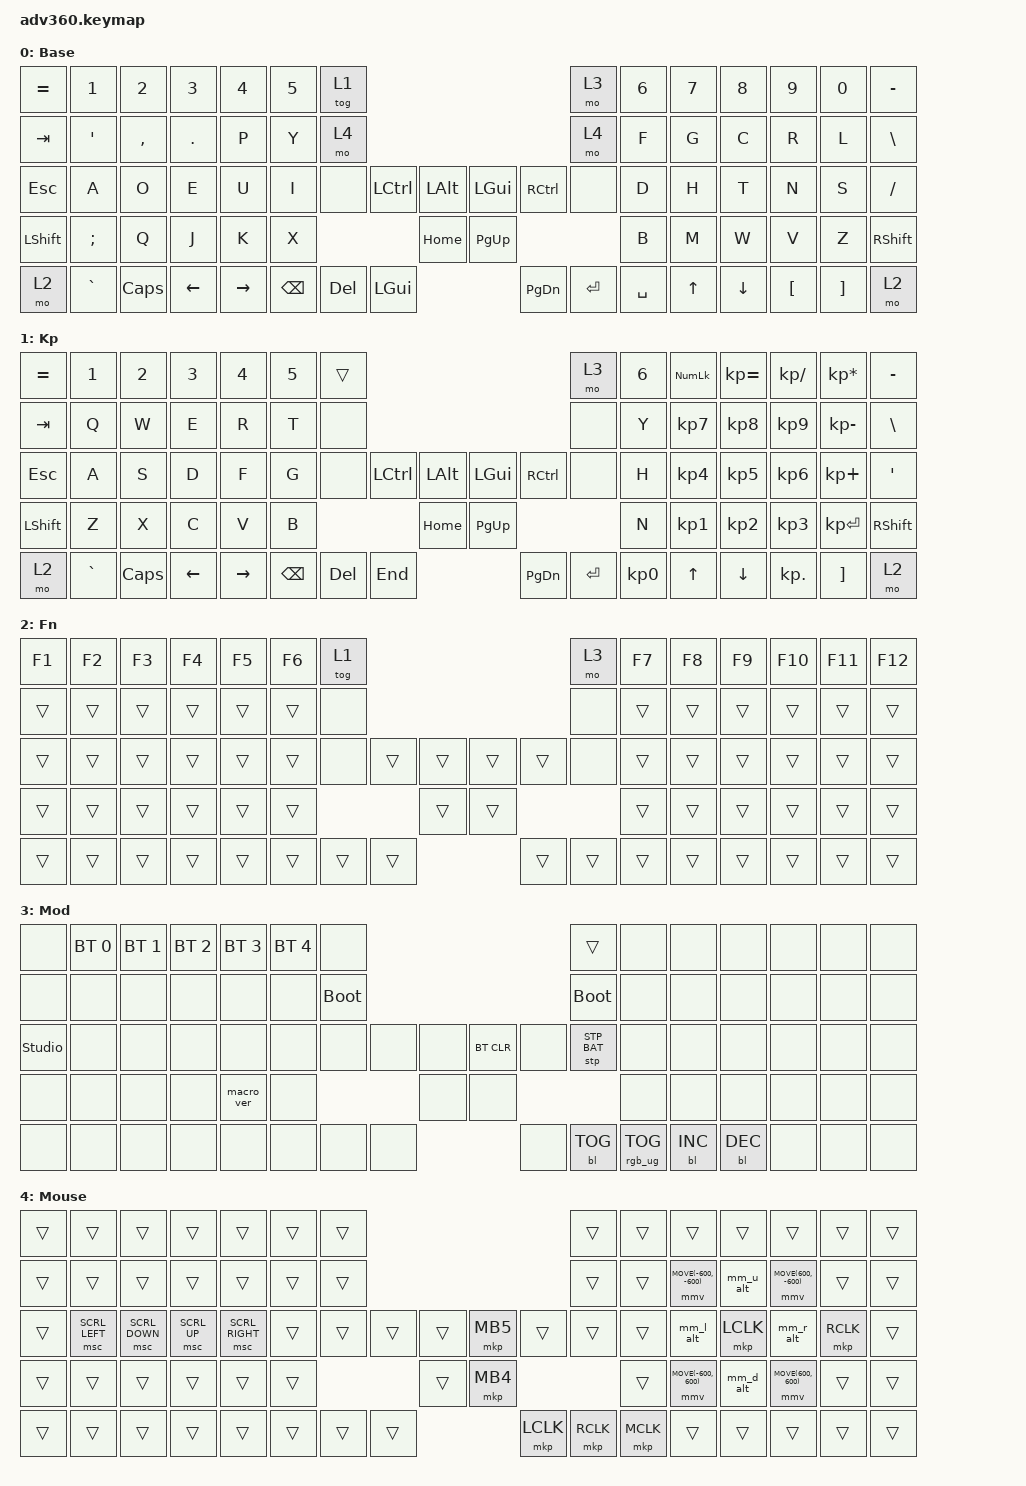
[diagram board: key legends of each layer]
#include <behaviors.dtsi>
#include <dt-bindings/zmk/keys.h>
#include <dt-bindings/zmk/bt.h>
#include <dt-bindings/zmk/rgb.h>
#include <dt-bindings/zmk/stp.h>
#include <dt-bindings/zmk/backlight.h>
#include <dt-bindings/zmk/pointing.h>
#include <dt-bindings/zmk/modifiers.h>

/ {
    behaviors {
      #include "macros.dtsi"
      #include "version.dtsi"

      hm: homerow_mods {
          compatible = "zmk,behavior-hold-tap";
          label = "HOMEROW_MODS";
          #binding-cells = <2>;
          tapping-term-ms = <200>;
          quick_tap_ms = <175>;
          flavor = "tap-preferred";
          bindings = <&kp>, <&kp>;
      };

      mm_l_ctrl: mm_l_ctrl {
          compatible = "zmk,behavior-mod-morph";
          #binding-cells = <0>;
          bindings = <&mmv MOVE_LEFT>, <&mmv MOVE_X(-1200)>;
          mods = <(MOD_LCTL)>;
      };
      mm_l_alt: mm_l_alt {
          compatible = "zmk,behavior-mod-morph";
          #binding-cells = <0>;
          bindings = <&mm_l_ctrl>, <&mmv MOVE_X(-2400)>;
          mods = <(MOD_LALT)>;
      };
      mm_r_ctrl: mm_r_ctrl {
          compatible = "zmk,behavior-mod-morph";
          #binding-cells = <0>;
          bindings = <&mmv MOVE_RIGHT>, <&mmv MOVE_X(1200)>;
          mods = <(MOD_LCTL)>;
      };
      mm_r_alt: mm_r_alt {
          compatible = "zmk,behavior-mod-morph";
          #binding-cells = <0>;
          bindings = <&mm_r_ctrl>, <&mmv MOVE_X(2400)>;
          mods = <(MOD_LALT)>;
      };
      mm_u_ctrl: mm_u_ctrl {
          compatible = "zmk,behavior-mod-morph";
          #binding-cells = <0>;
          bindings = <&mmv MOVE_UP>, <&mmv MOVE_Y(-1200)>;
          mods = <(MOD_LCTL)>;
      };
      mm_u_alt: mm_u_alt {
          compatible = "zmk,behavior-mod-morph";
          #binding-cells = <0>;
          bindings = <&mm_u_ctrl>, <&mmv MOVE_Y(-2400)>;
          mods = <(MOD_LALT)>;
      };
      mm_d_ctrl: mm_d_ctrl {
          compatible = "zmk,behavior-mod-morph";
          #binding-cells = <0>;
          bindings = <&mmv MOVE_DOWN>, <&mmv MOVE_Y(1200)>;
          mods = <(MOD_LCTL)>;
      };
      mm_d_alt: mm_d_alt {
          compatible = "zmk,behavior-mod-morph";
          #binding-cells = <0>;
          bindings = <&mm_d_ctrl>, <&mmv MOVE_Y(2400)>;
          mods = <(MOD_LALT)>;
      };
    };

  keymap {
    compatible = "zmk,keymap";

    default_layer {
      display-name = "Base";
      bindings = <
        &kp EQUAL &kp N1    &kp N2   &kp N3   &kp N4     &kp N5 &tog 1                                                           &mo 3 &kp N6 &kp N7 &kp N8    &kp N9   &kp N0    &kp MINUS
        &kp TAB   &kp SQT   &kp COMMA &kp DOT &kp P      &kp Y  &mo 4                                                            &mo 4 &kp F  &kp G  &kp C     &kp R    &kp L     &kp BSLH
        &kp ESC   &kp A     &kp O    &kp E    &kp U      &kp I  &none           &kp LCTRL &kp LALT &kp LGUI  &kp RCTRL           &none &kp D  &kp H  &kp T     &kp N    &kp S     &kp FSLH
        &kp LSHFT &kp SEMI  &kp Q    &kp J    &kp K      &kp X                            &kp HOME &kp PG_UP                           &kp B  &kp M  &kp W     &kp V    &kp Z     &kp RSHFT
        &mo 2     &kp GRAVE &kp CAPS &kp LEFT &kp RIGHT                &kp BSPC &kp DEL   &kp LGUI &kp PG_DN &kp ENTER &kp SPACE              &kp UP &kp DOWN  &kp LBKT &kp RBKT &mo 2
      >;
    };
    keypad {
      display-name = "Kp";
      bindings = <
        &kp EQUAL &kp N1    &kp N2   &kp N3   &kp N4     &kp N5 &trans                                                           &mo 3 &kp N6 &kp KP_NUM &kp KP_EQUAL &kp KP_DIVIDE &kp KP_MULTIPLY &kp MINUS
        &kp TAB   &kp Q     &kp W    &kp E    &kp R      &kp T  &none                                                            &none &kp Y  &kp KP_N7  &kp KP_N8    &kp KP_N9     &kp KP_MINUS    &kp BSLH
        &kp ESC   &kp A     &kp S    &kp D    &kp F      &kp G  &none           &kp LCTRL &kp LALT &kp LGUI  &kp RCTRL           &none &kp H  &kp KP_N4  &kp KP_N5    &kp KP_N6     &kp KP_PLUS     &kp SQT
        &kp LSHFT &kp Z     &kp X    &kp C    &kp V      &kp B                            &kp HOME &kp PG_UP                           &kp N  &kp KP_N1  &kp KP_N2    &kp KP_N3     &kp KP_ENTER    &kp RSHFT
        &mo 2     &kp GRAVE &kp CAPS &kp LEFT &kp RIGHT                &kp BSPC &kp DEL   &kp END  &kp PG_DN &kp ENTER &kp KP_N0              &kp UP     &kp DOWN     &kp KP_DOT    &kp RBKT        &mo 2
      >;
    };
    fn {
      display-name = "Fn";
      bindings = <
        &kp F1 &kp F2 &kp F3 &kp F4 &kp F5 &kp F6 &tog 1                                           &mo 3 &kp F7 &kp F8 &kp F9 &kp F10 &kp F11 &kp F12
        &trans &trans &trans &trans &trans &trans  &none                                           &none &trans &trans &trans &trans  &trans  &trans
        &trans &trans &trans &trans &trans &trans  &none        &trans &trans &trans &trans        &none &trans &trans &trans &trans  &trans  &trans
        &trans &trans &trans &trans &trans &trans                      &trans &trans                     &trans &trans &trans &trans  &trans  &trans
        &trans &trans &trans &trans &trans               &trans &trans &trans &trans &trans &trans              &trans &trans &trans  &trans  &trans
      >;
    };
    mod {
      display-name = "Mod";
      bindings = <
        &none &bt BT_SEL 0 &bt BT_SEL 1 &bt BT_SEL 2 &bt BT_SEL 3 &bt BT_SEL 4 &none                                                                     &trans                 &none        &none        &none        &none &none &none
        &none &none        &none        &none        &none        &none        &bootloader                                                               &bootloader            &none        &none        &none        &none &none &none
        &studio_unlock &none        &none        &none        &none        &none        &none                   &none &none &bt BT_CLR &none                      &stp STP_BAT &none        &none        &none        &none &none &none
        &none &none        &none        &none        &macro_ver   &none                                      &none &none                                                        &none        &none        &none        &none &none &none
        &none &none        &none        &none        &none                                       &none &none &none &none      &bl BL_TOG &rgb_ug RGB_TOG                                     &bl BL_INC   &bl BL_DEC   &none &none &none
      >;
    };
    mouse_layer {
      display-name = "Mouse";
      bindings = <
        &trans           &trans           &trans           &trans           &trans           &trans           &trans           &trans           &trans           &trans           &trans           &trans           &trans           &trans
        &trans           &trans           &trans           &trans           &trans           &trans           &trans           &trans           &trans           &mmv MOVE(-600, -600) &mm_u_alt   &mmv MOVE(600, -600) &trans           &trans
        &trans           &msc SCRL_LEFT   &msc SCRL_DOWN   &msc SCRL_UP     &msc SCRL_RIGHT  &trans           &trans           &trans           &trans           &mkp MB5         &trans           &trans           &trans           &mm_l_alt        &mkp LCLK        &mm_r_alt        &mkp RCLK        &trans
        &trans           &trans           &trans           &trans           &trans           &trans           &trans           &mkp MB4         &trans           &mmv MOVE(-600, 600) &mm_d_alt   &mmv MOVE(600, 600) &trans           &trans
        &trans           &trans           &trans           &trans           &trans           &trans           &trans           &trans           &mkp LCLK        &mkp RCLK        &mkp MCLK        &trans           &trans           &trans           &trans           &trans
      >;
    };

    extra2 { 
      display-name = "Purple";    
      status = "reserved";
    };

    extra3 { 
      display-name = "Cyan";    
      status = "reserved";
    };

    extra4 {
      display-name = "Yellow";
      status = "reserved";
    };
  };
};

&mmv {
    acceleration-exponent = <1>;
    time-to-max-speed-ms = <500>;
    delay-ms = <0>;
};

&msc {
    acceleration-exponent = <0>;
    time-to-max-speed-ms = <300>;
    delay-ms = <0>;
};
